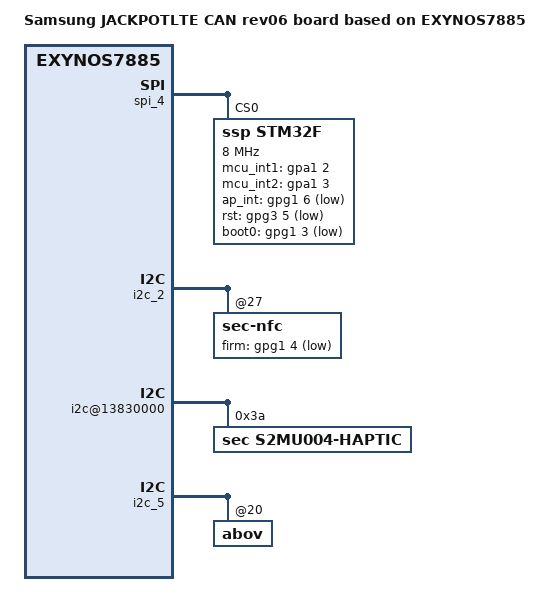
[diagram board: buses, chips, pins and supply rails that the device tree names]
/*
 * SAMSUNG UNIVERSAL7885 board device tree source
 *
 * Copyright (c) 2013 Samsung Electronics Co., Ltd.
 *		http://www.samsung.com
 *
 * This program is free software; you can redistribute it and/or modify
 * it under the terms of the GNU General Public License version 2 as
 * published by the Free Software Foundation.
*/

/dts-v1/;
#include "exynos7885-jackpotlte_common.dtsi"
#include "exynos7885-jackpotlte_fingerprint-sensor_00.dtsi"
#include "exynos7885-jackpotlte_can_open_gpio_06.dtsi"
#include "exynos7885-jackpotlte_mst_02.dtsi"
#include "exynos7885-jackpotlte_svcled.dtsi"
#include "battery_data_jackpotlte_can.dtsi"

/ {
	model = "Samsung JACKPOTLTE CAN rev06 board based on EXYNOS7885";
	model_info-chip = <7885>;
	model_info-platform = "android";
	model_info-subtype = "samsung";
	model_info-hw_rev = <6>;
	model_info-hw_rev_end = <6>;
	compatible = "samsung, JACKPOTLTE CAN rev06", "samsung,Universal7885";

	/* SENSORHUB */
    spi_4: spi@13980000 {
        #address-cells = <1>;
        #size-cells = <0>;

        pinctrl-names = "default";
        pinctrl-0 = <&spi4_miso &spi4_mosi &spi4_cs &spi4_clk>;
        interrupts = <0 277 0>;

        num-cs = <1>;
        status = "okay";

		STM32F@0 {
			compatible = "ssp,STM32F";
			reg = <0>;
			spi-max-frequency = <8000000>;
			spi-cpol;
			spi-cpha;
			pinctrl-names = "default";
			pinctrl-0 = <&ssp_rst &ssp_ap_int &ssp_mcu_int1 &ssp_mcu_int2 &ssp_boot0>;

			gpio-controller;
			#gpio-cells = <2>;
			ssp,mcu_int1-gpio = <&gpa1 2 0x00>;
			ssp,mcu_int2-gpio = <&gpa1 3 0x00>;
			ssp,ap_int-gpio = <&gpg1 6 0x01>;
			ssp,rst-gpio = <&gpg3 5 0x01>;
			ssp,boot0-gpio = <&gpg1 3 0x1>;
			ssp,acc-position = <7>;
			ssp,mag-position = <5>;
			ssp-sns-combination = <0>;
			ssp,prox-hi_thresh = <55>;
			ssp,prox-low_thresh = <40>;
			ssp,prox-detect_hi_thresh = <250>;
			ssp,prox-detect_low_thresh = <130>;
			ssp-ap-rev = <1>;
			ssp-mag-array = /bits/ 8 <207 82 201 4 218 137 254 197 213
                                    55 35 84 243 129 255 167 2 43
                                    230 232 191 252 243 208 9 197 21>;
			ssp-mag-type = <1>;
			ssp-glass-type = <0>;
			ssp-acc-type = <1>;
			ssp-pressure-type = <1>;
			ssp-project-type = <1>;


            controller-data {
                cs-gpio = <&gpp8 0 0>;
                samsung,spi-feedback-delay = <0>;
			};
        };
	};

	pinctrl@139B0000 {
		nfc_pvdd_en: nfc_pvdd_en {
				samsung,pins = "gpg1-5";
				samsung,pin-function = <1>;
				samsung,pin-pud = <0>;
				samsung,pin-val = <0>;
				samsung,pin-con-pdn = <3>;
				samsung,pin-pud-pdn = <0>;
		};

		nfc_firm: nfc_firm {
			samsung,pins = "gpg1-4";
			samsung,pin-function = <1>;
			samsung,pin-pud = <0>;
			samsung,pin-val = <0>;
			samsung,pin-con-pdn = <3>;
			samsung,pin-pud-pdn = <0>;
		};
	};

	i2c_2: i2c@13850000 {
		sec-nfc@27 {
			sec-nfc,firm-gpio = <&gpg1 4 1>;
			sec-nfc,pvdd_en = <&gpg1 5 1>;
			pinctrl-names = "default";
			pinctrl-0 = <&nfc_pd &nfc_firm &nfc_int &nfc_clk &nfc_pvdd_en &nfc_clk_req>;
		};
	};
	
	/* USIM DETECTION FOR CP */
	usim_det {
		pinctrl-names = "default";
		pinctrl-0 = <&sim0_det_gpio &sim1_det_gpio>;
		mif,num_of_usim_det = <2>;
		mif,usim-det0-gpio = <&gpa2 6 0>;
		mif,usim-det1-gpio = <&gpa2 5 0>;
	};

	/* motor control type :  1 = IFPMIC */
	/*				2 = Mot driving IC */
	motor {
		motor,motor_type = <1>;
	};

	pinctrl@139B0000 {
		motor_pwm: motor_pwm {
			samsung,pins = "gpg0-1";
			samsung,pin-function = <2>;
			samsung,pin-pud = <1>;
			samsung,pin-drv = <0>;
		};
	};

	i2c@13830000 {
		s2mu004-haptic@3A {
			compatible = "sec,s2mu004-haptic";
			reg = <0x3A>;
			pinctrl-names = "default";
			pinctrl-0 = <&motor_pwm>;
			
		};
	};

	leds_ktd2692 {
		compatible = "ktd2692";
		flash_control = <&gpg1 2 0x1>;
		max_current = <1360>; /* (IMax) */
		flash_current = <1200>; /* (n/16)xIMax (1<=n<=16) */
		movie_current = <175>; /* (n/16)*IMax/3 (1<=n<=16) */
		factory_current = <175>; /* (n/16)xIMax/3 (1<=n<=16) */
		torch_current = <75>; /* (n/16)xIMax/3 (1<=n<=16) */
		torch_table_enable = <1>;
		torch_table = <1 2 2 3 3 4 4 4 5 5>;
		status = "okay";
		pinctrl-names ="default","host","is";
		pinctrl-0 = <&fimc_is_flash_is>;
		pinctrl-1 = <&fimc_is_flash_host>;
		pinctrl-2 = <&fimc_is_flash_is>;
	};

	i2c_5:i2c@13880000 {
		abov@20 {
			abov,firmware_name = "abov/a96t326_a5y18_can.fw";
		};
	};
};

